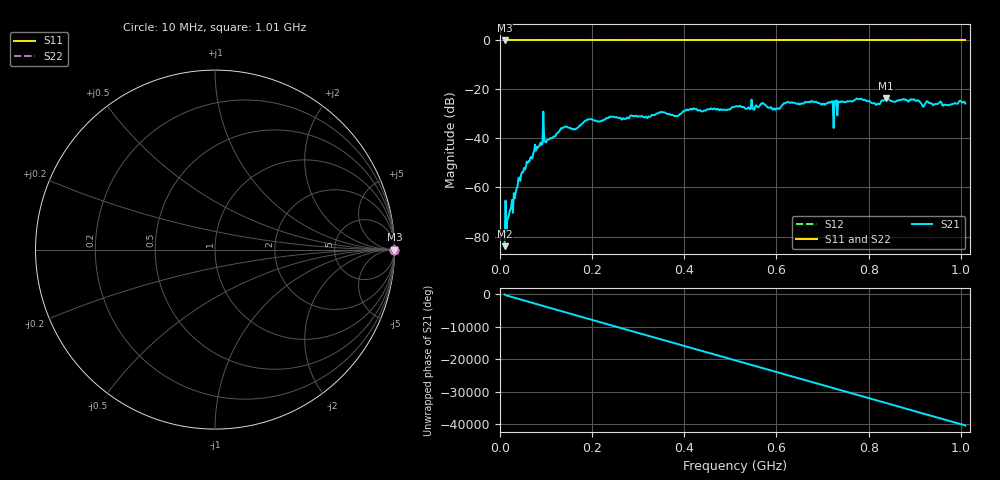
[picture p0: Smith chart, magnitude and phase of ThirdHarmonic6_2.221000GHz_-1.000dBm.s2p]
! 8/17/2025 2:27:17 AM
! C:\ANRITSUVNA\TEMP\TEMP.S2P
! CHANNEL.1
! TR.MEASUREMENT
! RAW.DATA
! RF.CORRECTION.OFF
! AVERAGING.OFF
! IF.BANDWIDTH: 5KHZ
! SWEEPTYPE:  FREQ.SWEEP(Linear)
! Reference Plane Port Info
! PORT:  PORT1  PORT2
! DISTANCE:  0  m  0  m
! TIME:  0  s  0  s
! PHASE.OFFSET:  0  deg.  0  deg.
! LOSS:  0  dB  0  dB
! REF.LOSS:  0  dB  0  dB
! REF.FREQ:  0  Hz  0  Hz
! Power Info
! POWER:  -20  dBm  -20  dBm
! EFF.POWER:  -20  dBm  -20  dBm
! SOURCE.ATTEN:  0  dB  0  dB
! TEST.ATTEN:  0  dB  0  dB
# GHZ S RI R 50.0
! FREQ.GHZ  S11RE  S11IM  S21RE  S21IM  S12RE  S12IM  S22RE  S22IM
!; PortSelection: Port_12
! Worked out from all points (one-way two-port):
!   501 points, 10 MHz to 1.01 GHz, reference 50 ohm
!   highest |S21| = -23.58 dB at 838 MHz (marker M1); lowest = -83.9 dB at 10 MHz (marker M2)
!   lowest |S11| = 0.0 dB at 10 MHz (marker M3)
!   |S11| at or under -10 dB: nowhere
!   |S22| runs from 0.0 to 0.0 dB; largest |S21 - S12| = 1.1
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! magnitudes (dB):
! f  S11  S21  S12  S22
! 10 MHz  0.0  -83.9  0.0  0.0
! 44 MHz  0.0  -57.4  0.0  0.0
! 88 MHz  0.0  -41.7  0.0  0.0
! 90 MHz  0.0  -42.6  0.0  0.0
! 98 MHz  0.0  -41.2  0.0  0.0
! 100 MHz  0.0  -41.6  0.0  0.0
! 136 MHz  0.0  -35.7  0.0  0.0
! 178 MHz  0.0  -34.0  0.0  0.0
! 344 MHz  0.0  -29.7  0.0  0.0
! 382 MHz  0.0  -30.7  0.0  0.0
! 416 MHz  0.0  -28.3  0.0  0.0
! 510 MHz  0.0  -27.0  0.0  0.0
! 570 MHz  0.0  -25.5  0.0  0.0
! 596 MHz  0.0  -27.7  0.0  0.0
! 678 MHz  0.0  -25.0  0.0  0.0
! 718 MHz  0.0  -25.2  0.0  0.0
! 728 MHz  0.0  -24.7  0.0  0.0
! 738 MHz  0.0  -25.3  0.0  0.0
! 820 MHz  0.0  -25.8  0.0  0.0
! 838 MHz  0.0  -23.6  0.0  0.0
! 844 MHz  0.0  -24.1  0.0  0.0
! 1.01 GHz  0.0  -25.8  0.0  0.0
